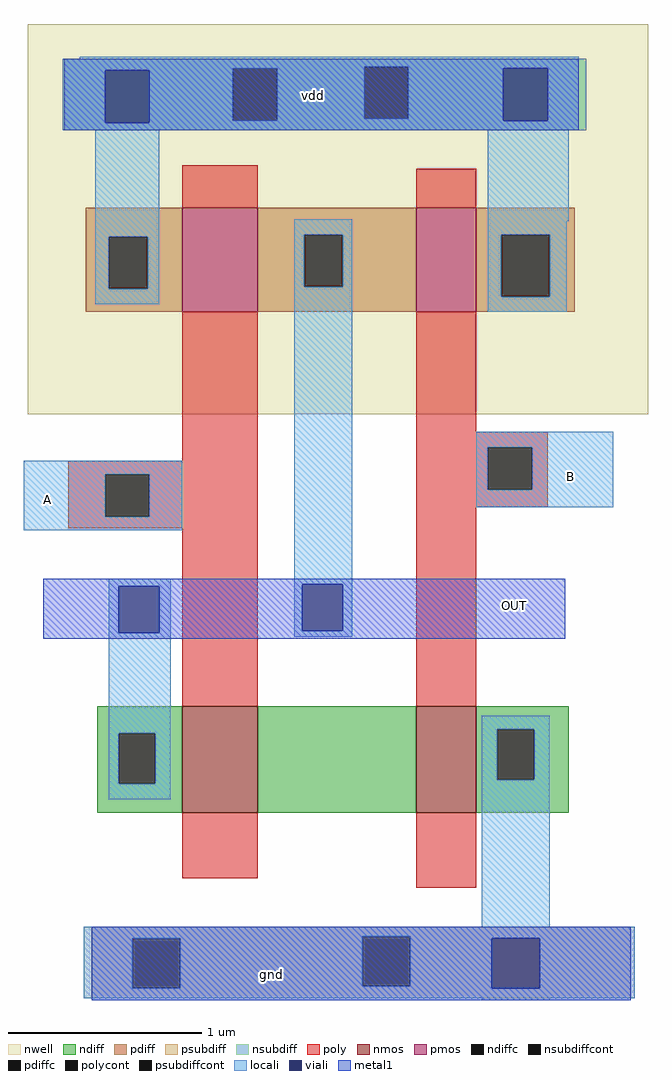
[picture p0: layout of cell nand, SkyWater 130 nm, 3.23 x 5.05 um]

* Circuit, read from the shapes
.subckt nand A B OUT gnd vdd
XM1 n1 A OUT gnd sky130_fd_pr__nfet_01v8 w=0.55 l=0.39
XM2 gnd B n1 gnd sky130_fd_pr__nfet_01v8 w=0.55 l=0.31
XM3 OUT A vdd vdd sky130_fd_pr__pfet_01v8 w=0.54 l=0.39
XM4 vdd B OUT vdd sky130_fd_pr__pfet_01v8 w=0.54 l=0.31
.ends

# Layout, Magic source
magic
tech sky130A
<< nwell >>
rect -159 -30 162 172
<< nmos >>
rect -79 -236 -40 -181
rect 42 -236 73 -181
<< pmos >>
rect -79 23 -40 77
rect 42 23 73 77
<< ndiff >>
rect -123 -195 -79 -181
rect -123 -221 -112 -195
rect -93 -221 -79 -195
rect -123 -236 -79 -221
rect -40 -236 42 -181
rect 73 -193 121 -181
rect 73 -219 84 -193
rect 103 -219 121 -193
rect 73 -236 121 -219
<< pdiff >>
rect -129 62 -79 77
rect -129 35 -117 62
rect -97 35 -79 62
rect -129 23 -79 35
rect -40 63 42 77
rect -40 36 -16 63
rect 4 36 42 63
rect -40 23 42 36
rect 73 63 124 77
rect 73 31 86 63
rect 111 31 124 63
rect 73 23 124 31
<< ndiffc >>
rect -112 -221 -93 -195
rect 84 -219 103 -193
<< pdiffc >>
rect -117 35 -97 62
rect -16 36 4 63
rect 86 31 111 63
<< psubdiff >>
rect -130 -300 155 -295
rect -130 -301 14 -300
rect -130 -327 -105 -301
rect -80 -326 14 -301
rect 39 -326 155 -300
rect -80 -327 155 -326
rect -130 -332 155 -327
<< nsubdiff >>
rect -141 150 130 154
rect -141 149 15 150
rect -141 122 -53 149
rect -30 123 15 149
rect 38 123 130 150
rect -30 122 130 123
rect -141 117 130 122
<< psubdiffcont >>
rect -105 -327 -80 -301
rect 14 -326 39 -300
<< nsubdiffcont >>
rect -53 122 -30 149
rect 15 123 38 150
<< poly >>
rect -79 77 -40 99
rect 42 77 73 97
rect -79 -54 -40 23
rect -138 -61 -40 -54
rect -138 -83 -119 -61
rect -96 -83 -40 -61
rect -138 -89 -40 -83
rect -79 -181 -40 -89
rect 42 -39 73 23
rect 42 -47 110 -39
rect 42 -69 79 -47
rect 102 -69 110 -47
rect 42 -78 110 -69
rect 42 -181 73 -78
rect -79 -270 -40 -236
rect 42 -275 73 -236
<< polycont >>
rect -119 -83 -96 -61
rect 79 -69 102 -47
<< locali >>
rect -132 154 126 155
rect -141 150 126 154
rect -141 149 15 150
rect -141 148 -53 149
rect -141 121 -119 148
rect -96 122 -53 148
rect -30 123 15 149
rect 38 149 126 150
rect 38 123 87 149
rect -30 122 87 123
rect 110 122 126 149
rect -96 121 126 122
rect -141 117 126 121
rect -124 62 -91 117
rect -124 35 -117 62
rect -97 35 -91 62
rect -124 27 -91 35
rect -21 63 9 71
rect -21 36 -16 63
rect 4 36 9 63
rect -161 -61 -79 -54
rect -161 -83 -119 -61
rect -96 -83 -79 -61
rect -161 -90 -79 -83
rect -117 -119 -85 -115
rect -117 -143 -112 -119
rect -91 -143 -85 -119
rect -117 -195 -85 -143
rect -21 -118 9 36
rect 79 70 121 117
rect 79 63 120 70
rect 79 31 86 63
rect 111 31 120 63
rect 79 23 120 31
rect 73 -47 144 -39
rect 73 -69 79 -47
rect 102 -69 144 -47
rect 73 -78 144 -69
rect -21 -142 -17 -118
rect 4 -142 9 -118
rect -21 -145 9 -142
rect -117 -221 -112 -195
rect -93 -221 -85 -195
rect -117 -229 -85 -221
rect 76 -193 111 -186
rect 76 -219 84 -193
rect 103 -219 111 -193
rect 76 -295 111 -219
rect -130 -300 155 -295
rect -130 -301 14 -300
rect -130 -327 -105 -301
rect -80 -326 14 -301
rect 39 -301 155 -300
rect 39 -326 81 -301
rect -80 -327 81 -326
rect 106 -327 155 -301
rect -130 -332 155 -327
rect 76 -333 111 -332
<< viali >>
rect -119 121 -96 148
rect 87 122 110 149
rect -112 -143 -91 -119
rect -17 -142 4 -118
rect 81 -327 106 -301
<< metal1 >>
rect -140 149 126 154
rect -140 148 87 149
rect -140 121 -119 148
rect -96 122 87 148
rect 110 122 126 149
rect -96 121 126 122
rect -140 117 126 121
rect -151 -118 119 -115
rect -151 -119 -17 -118
rect -151 -143 -112 -119
rect -91 -142 -17 -119
rect 4 -142 119 -118
rect -91 -143 119 -142
rect -151 -146 119 -143
rect -126 -301 153 -295
rect -126 -327 81 -301
rect 106 -327 153 -301
rect -126 -333 153 -327
<< labels >>
flabel metal1 -11 135 -11 135 0 FreeSans 80 0 0 0 vdd
flabel metal1 -33 -320 -33 -320 0 FreeSans 80 0 0 0 gnd
flabel locali -149 -74 -149 -74 0 FreeSans 160 0 0 0 A
flabel locali 122 -62 122 -62 0 FreeSans 160 0 0 0 B
flabel metal1 93 -129 93 -129 0 FreeSans 160 0 0 0 OUT
<< end >>
